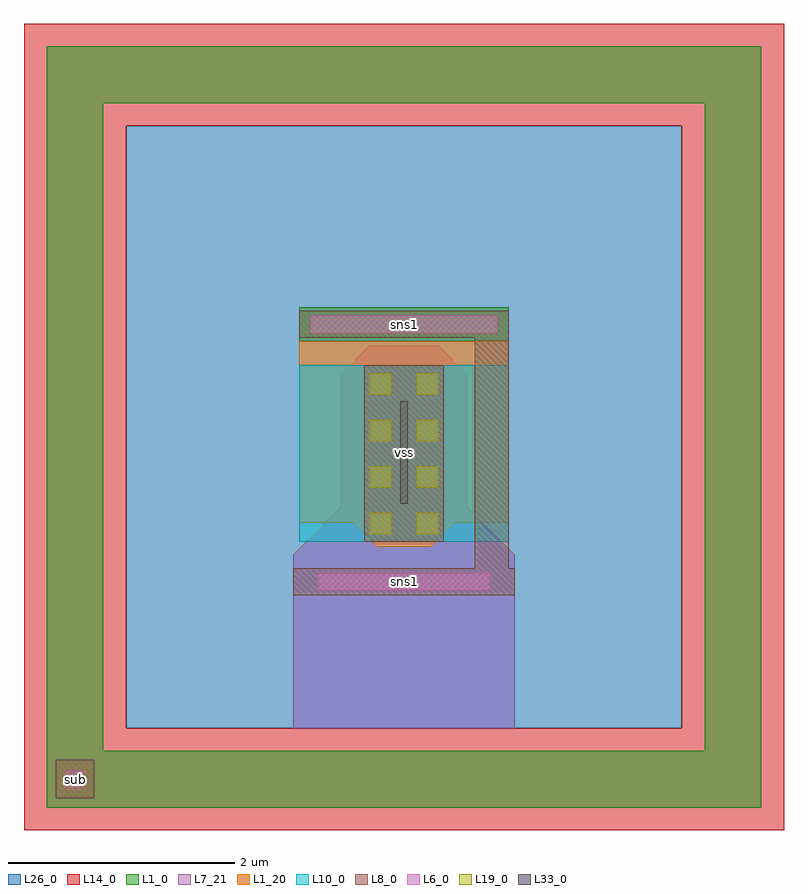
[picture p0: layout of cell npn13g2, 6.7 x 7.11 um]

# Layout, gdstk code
import gdstk
lib = gdstk.Library(unit=1e-6, precision=1e-09)
def R(c, l, rs):  # rectangles x0, y0, x1, y1
    for r in rs: c.add(gdstk.rectangle(r[:2], r[2:], *l))
def A(c, l, x, y, w, h, nx, ny, dx, dy):  # array of equal rectangles
    R(c, l, [(x+i*dx, y+j*dy, x+i*dx+w, y+j*dy+h) for i in range(nx) for j in range(ny)])
def P(c, l, *ps):  # polygons
    for p in ps: c.add(gdstk.Polygon(p, *l))
L1_0 = (1, 0)
L1_20 = (1, 20)
L6_0 = (6, 0)
L7_21 = (7, 21)
L8_0 = (8, 0)
L10_0 = (10, 0)
L14_0 = (14, 0)
L19_0 = (19, 0)
L26_0 = (26, 0)
L33_0 = (33, 0)

npn13g2 = lib.new_cell('npn13g2')
R(npn13g2, L1_0, [(-0.925,0.98,0.925,1.28)])
P(npn13g2, L1_0, [(-3.15,-3.13),(-3.15,3.08),(-2.65,3.08),(-2.65,-2.63),(2.65,-2.63),(2.65,3.08),(-3.15,3.08),(-3.15,3.58),(3.15,3.58),(3.15,-3.13)])
P(npn13g2, L1_20, [(-0.235,-0.83),(-0.445,-0.62),(-0.925,-0.62),(-0.925,0.98),(0.925,0.98),(0.925,-0.62),(0.445,-0.62),(0.235,-0.83)])
R(npn13g2, L6_0, [(-2.98,-2.96,-2.82,-2.8), (-0.76,-1.22,0.76,-1.06), (-0.825,1.05,0.825,1.21)])
P(npn13g2, L7_21, [(-0.975,-2.43),(-0.975,-0.9),(-0.555,-0.48),(-0.555,0.69),(-0.305,0.94),(0.305,0.94),(0.555,0.69),(0.555,-0.48),(0.975,-0.9),(0.975,-2.43)])
R(npn13g2, L8_0, [(-3.07,-3.05,-2.73,-2.71), (-0.975,-1.26,0.975,-1.02), (0.625,-1.26,0.925,1.25), (-0.35,-0.785,0.35,0.77), (-0.925,1.01,0.925,1.25)])
R(npn13g2, L10_0, [(-0.925,-0.785,0.925,0.77)])
P(npn13g2, L14_0, [(-3.35,-3.33),(-3.35,2.88),(-2.45,2.88),(-2.45,-2.43),(2.45,-2.43),(2.45,2.88),(-3.35,2.88),(-3.35,3.78),(3.35,3.78),(3.35,-3.33)])
A(npn13g2, L19_0, -0.3, -0.72, 0.19, 0.19, 1, 4, 0, 0.41)
A(npn13g2, L19_0, 0.11, -0.72, 0.19, 0.19, 1, 4, 0, 0.41)
R(npn13g2, L26_0, [(-2.45,-2.43,2.45,2.88)])
R(npn13g2, L33_0, [(-0.035,-0.45,0.035,0.45)])
npn13g2.add(gdstk.Label('sub', (-2.9,-2.88), layer=8, texttype=1))
npn13g2.add(gdstk.Label('sns1', (0,1.13), layer=8, texttype=1))
npn13g2.add(gdstk.Label('sns1', (0,-1.14), layer=8, texttype=1))
npn13g2.add(gdstk.Label('vss', (0,0), layer=10, texttype=1))
npn13g2.add(gdstk.Label('Q1(npn13G2,Nx=1)', (0,4.18), layer=63, texttype=0))
npn13g2.add(gdstk.Label('SUB', (-2.9,-2.88), layer=8, texttype=25))
npn13g2.add(gdstk.Label('SNS1', (0,1.13), layer=8, texttype=25))
npn13g2.add(gdstk.Label('SNS1', (0,-1.14), layer=8, texttype=25))
npn13g2.add(gdstk.Label('VSS', (0,0), layer=10, texttype=25))

lib.write_gds('npn13g2.gds')
